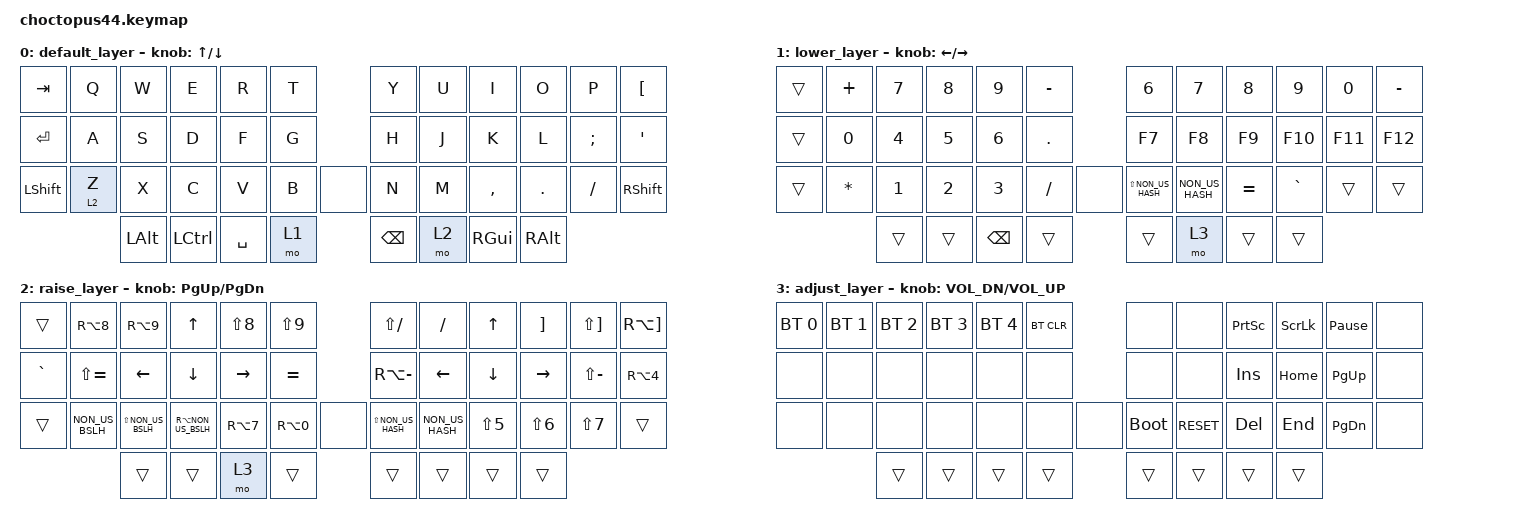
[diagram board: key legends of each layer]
/*
 * Copyright (c) 2021 The ZMK Contributors
 *
 * SPDX-License-Identifier: MIT
 */

#include <behaviors.dtsi>
#include <dt-bindings/zmk/keys.h>
#include <dt-bindings/zmk/bt.h>
#include <dt-bindings/zmk/rgb.h>

&mt {
    tapping-term-ms = <400>;
};

/ {
  keymap {
    compatible = "zmk,keymap";


    default_layer {
      bindings = <
        &kp TAB     &kp Q      &kp W       &kp E     &kp R    &kp T                &kp Y     &kp U     &kp I      &kp O    &kp P     &kp LBKT
        &kp RET     &kp A      &kp S       &kp D     &kp F    &kp G                &kp H     &kp J     &kp K      &kp L    &kp SEMI  &kp SQT
        &kp LSHFT   &lt 2 Z    &kp X       &kp C     &kp V    &kp B      &none     &kp N     &kp M     &kp COMMA  &kp DOT  &kp FSLH  &kp RSHFT
                              &kp LALT    &kp LCTRL &kp SPACE &mo 1               &kp BSPC  &mo 2     &kp RGUI   &kp RALT
      >;
      sensor-bindings = <&inc_dec_kp UP DOWN>; 
    };

    lower_layer {
      bindings = <
        &trans    &kp PLUS    &kp N7  &kp N8   &kp N9    &kp MINUS                  &kp N6              &kp N7            &kp N8      &kp N9      &kp N0    &kp MINUS
        &trans    &kp N0      &kp N4  &kp N5   &kp N6    &kp DOT                    &kp F7              &kp F8            &kp F9      &kp F10     &kp F11   &kp F12
        &trans    &kp ASTRK   &kp N1  &kp N2   &kp N3    &kp FSLH     &none         &kp LS(NON_US_HASH) &kp NON_US_HASH   &kp EQUAL   &kp GRAVE   &trans    &trans
                              &trans  &trans   &kp BSPC  &trans                     &trans              &mo 3             &trans      &trans
      >;
      sensor-bindings = <&inc_dec_kp LEFT RIGHT>;
    };

    raise_layer {
      bindings = <
        &trans      &kp RA(N8)        &kp RA(N9)            &kp UP                &kp LS(N8)  &kp LS(N9)                &kp LS(FSLH)          &kp FSLH          &kp UP      &kp RBKT    &kp LS(RBKT)    &kp RA(RBKT)
        &kp GRAVE   &kp LS(EQUAL)     &kp LEFT              &kp DOWN              &kp RIGHT   &kp EQUAL                 &kp RA(MINUS)         &kp LEFT          &kp DOWN    &kp RIGHT   &kp LS(MINUS)   &kp RA(N4)
        &trans      &kp NON_US_BSLH   &kp LS(NON_US_BSLH)   &kp RA(NON_US_BSLH)   &kp RA(N7)  &kp RA(N0)   &none   &kp LS(NON_US_HASH)   &kp NON_US_HASH   &kp LS(N5)  &kp LS(N6)  &kp LS(N7)      &trans
                                      &trans                &trans                &mo 3       &trans                    &trans                &trans            &trans      &trans
      >;
      sensor-bindings = <&inc_dec_kp PG_UP PG_DN>;
    };

    adjust_layer {
      bindings = <
        &bt BT_SEL 0  &bt BT_SEL 1    &bt BT_SEL 2    &bt BT_SEL 3    &bt BT_SEL 4    &bt BT_CLR                &none         &none         &kp PSCRN     &kp SLCK    &kp PAUSE_BREAK   &none
        &none         &none           &none           &none           &none           &none                     &none         &none         &kp INSERT    &kp HOME    &kp PG_UP         &none
        &none         &none           &none           &none           &none           &none       &none    &bootloader   &kp C_RESET   &kp DEL       &kp END     &kp PG_DN         &none
                                      &trans          &trans          &trans          &trans                    &trans        &trans        &trans        &trans
      >;
      sensor-bindings = <&inc_dec_kp C_VOL_DN C_VOL_UP>;
    };

  };
};
